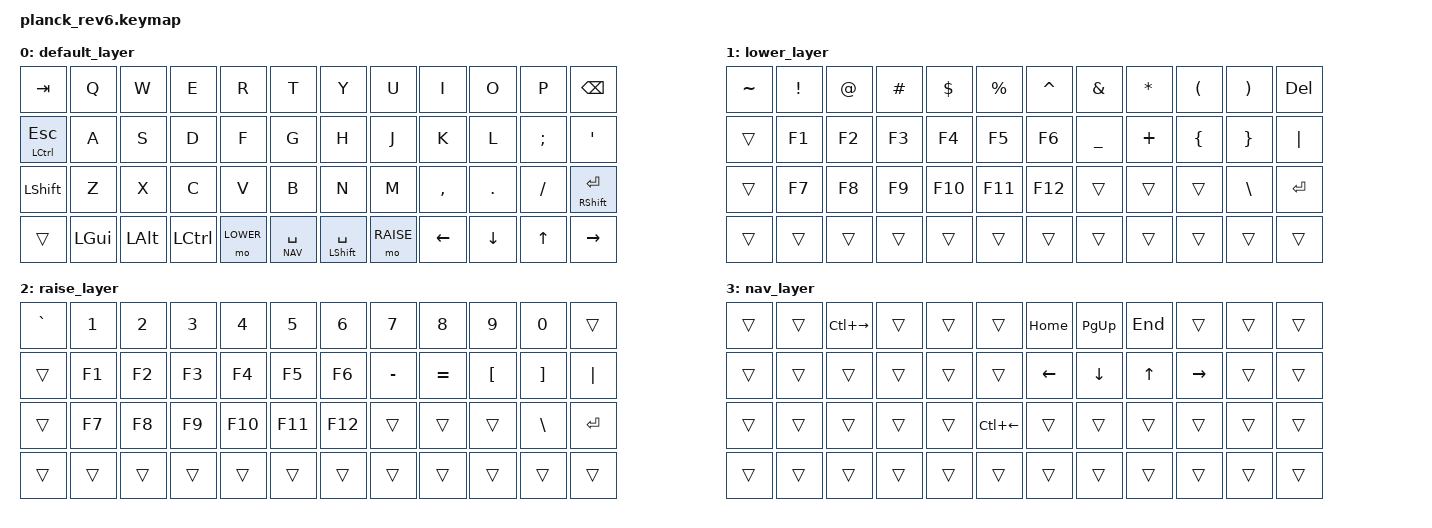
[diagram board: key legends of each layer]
#include <behaviors.dtsi>
#include <dt-bindings/zmk/keys.h>

#define DEFAULT 0
#define LOWER   1
#define RAISE   2
#define NAV     3

/ {
	keymap {
		compatible = "zmk,keymap";

		default_layer {
// -----------------------------------------------------------------------------------------
// |  TAB  |  Q   |  W   |  E   |  R   |  T   |   Y   |  U    |  I   |  O   |   P   | BSPC  |
// |  ESC  |  A   |  S   |  D   |  F   |  G   |   H   |  J    |  K   |  L   |   ;   |  '    |
// | SHIFT |  Z   |  X   |  C   |  V   |  B   |   N   |  M    |  ,   |  .   |   /   |  RET  |
// | FN    | LGUI | LALT | LCTL | LOWR | SHIFT| SPACE |  RAIS | LARW | DARW | UARW  |  RARW |
			bindings = <
	&kp TAB   &kp Q    &kp W    &kp E   &kp R  &kp T  &kp Y     &kp U  &kp I     &kp O    &kp P    &kp BSPC
	&mt LCTRL ESC   &kp A    &kp S    &kp D     &kp F  &kp G  &kp H     &kp J  &kp K     &kp L    &kp SEMI &kp SQT
	&kp LSHFT &kp Z    &kp X    &kp C     &kp V  &kp B  &kp N     &kp M  &kp COMMA &kp DOT  &kp SLASH &mt RSHFT RET
	&trans  &kp LGUI &kp LALT &kp LCTRL &mo LOWER &lt NAV SPACE &mt LSHFT SPACE &mo RAISE &kp LEFT  &kp DOWN &kp UP   &kp RIGHT
			>;
		};

		lower_layer {
// -----------------------------------------------------------------------------------------
// |  ~   |  !   |  @   |  #   |  $   |  %   |  ^   |  &   |  *  |  (   |   )   | DEL  |
// |      |  F1  |  F2  |  F3  |  F4  |  F5  |  F6  |  _   |  +  |  {   |   }   |  PIPE  |
// |      |  F7  |  F8  |  F9  |  F10 |  F11 |  F12 |      |     |      |   \    |  RET  |
// | FN   |      |      |      |      |      |      |      |     |      |         |      | 
			bindings = <
	&kp TILDE &kp EXCL &kp AT_SIGN &kp HASH  &kp DOLLAR  &kp PRCNT  &kp CARET  &kp AMPERSAND  &kp ASTERISK &kp LPAR &kp RPAR &kp DEL
	&trans    &kp F1   &kp F2      &kp F3    &kp F4      &kp F5     &kp F6    &kp UNDERSCORE  &kp PLUS    &kp LEFT_BRACE  &kp RIGHT_BRACE &kp PIPE
	&trans    &kp F7   &kp F8      &kp F9    &kp F10     &kp F11    &kp F12   &trans          &trans      &trans	&kp BACKSLASH  &kp RET
	&trans  &trans  &trans  &trans  &trans  &trans  &trans  &trans  &trans  &trans  &trans  &trans 
			>;
		};


		raise_layer {
// -----------------------------------------------------------------------------------------
// |  `   |  1   |  2   |  3   |  4   |  5   |  6   |  7   |  8  |  9   |   0   |        |
// |      |  F1  |  F2  |  F3  |  F4  |  F5  |  F6  |  -   |  =  |  [   |   ]   |  PIPE  |
// |      |  F7  |  F8  |  F9  |  F10 |  F11 |  F12 |      |     |      |   \    |  RET  |
// | FN   |      |      |      |      |      |      |      |     |      |         |      | 
			bindings = <
	&kp GRAVE &kp N1 &kp N2 &kp N3 &kp N4   &kp N5   &kp N6  &kp N7    &kp N8    &kp N9            &kp N0            &trans
	&trans    &kp F1 &kp F2 &kp F3 &kp F4   &kp F5   &kp F6  &kp MINUS &kp EQUAL &kp LEFT_BRACKET  &kp RIGHT_BRACKET &kp PIPE
	&trans    &kp F7 &kp F8 &kp F9 &kp F10  &kp F11  &kp F12 &trans    &trans    &trans	           &kp BACKSLASH     &kp RET
	&trans  &trans  &trans  &trans  &trans  &trans  &trans  &trans  &trans  &trans  &trans  &trans 
			>;
		};

		nav_layer {
// -----------------------------------------------------------------------------------------
// |      |      |NEXT_WORD(W)|      |      |      |      |      |     |      |       |        |
// |      |  F1  |  F2  |  F3  |  F4  |  F5  |LEFT(H)| DOWN | UP |  RIGHT |   ]   |  PIPE  |
// |      |  F7  |  F8  |  F9  |  F10 |  F11 |  F12 |      |     |      |   \   |  RET  |
// | FN   |      |      |      |      |      |      |      |     |      |         |      | 
			bindings = <
	&trans  &trans  &kp LC(RIGHT)  &trans &trans &trans &kp HOME &kp PAGE_UP  &kp END &trans &trans &trans
	&trans  &trans  &trans  &trans  &trans  &trans  &kp LEFT  &kp DOWN &kp UP &kp RIGHT &trans &trans
	&trans  &trans  &trans  &trans  &trans  &kp LC(LEFT) &trans  &trans  &trans  &trans  &trans  &trans 
	&trans  &trans  &trans  &trans  &trans  &trans  &trans  &trans  &trans  &trans  &trans  &trans  
			>;
		};

	};
};
